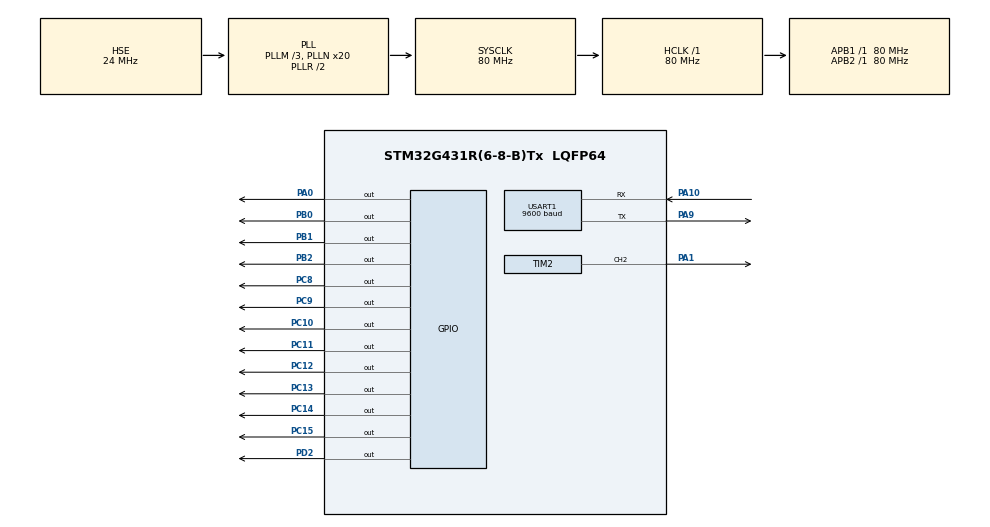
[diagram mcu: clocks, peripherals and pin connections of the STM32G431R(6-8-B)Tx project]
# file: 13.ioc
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Dma.Request0=USART1_RX
Dma.Request1=USART1_TX
Dma.USART1_RX.0.Direction=DMA_PERIPH_TO_MEMORY
Dma.USART1_RX.0.EventEnable=DISABLE
Dma.USART1_RX.0.Instance=DMA1_Channel1
Dma.USART1_RX.0.MemDataAlignment=DMA_MDATAALIGN_BYTE
Dma.USART1_RX.0.MemInc=DMA_MINC_ENABLE
Dma.USART1_RX.0.Mode=DMA_NORMAL
Dma.USART1_RX.0.PeriphDataAlignment=DMA_PDATAALIGN_BYTE
Dma.USART1_RX.0.PeriphInc=DMA_PINC_DISABLE
Dma.USART1_RX.0.Polarity=HAL_DMAMUX_REQ_GEN_RISING
Dma.USART1_RX.0.Priority=DMA_PRIORITY_LOW
Dma.USART1_RX.0.RequestNumber=1
Dma.USART1_RX.0.SignalID=NONE
Dma.USART1_RX.0.SyncEnable=DISABLE
Dma.USART1_RX.0.SyncPolarity=HAL_DMAMUX_SYNC_NO_EVENT
Dma.USART1_RX.0.SyncRequestNumber=1
Dma.USART1_RX.0.SyncSignalID=NONE
Dma.USART1_TX.1.Direction=DMA_MEMORY_TO_PERIPH
Dma.USART1_TX.1.EventEnable=DISABLE
Dma.USART1_TX.1.Instance=DMA1_Channel2
Dma.USART1_TX.1.MemDataAlignment=DMA_MDATAALIGN_BYTE
Dma.USART1_TX.1.MemInc=DMA_MINC_ENABLE
Dma.USART1_TX.1.Mode=DMA_NORMAL
Dma.USART1_TX.1.PeriphDataAlignment=DMA_PDATAALIGN_BYTE
Dma.USART1_TX.1.PeriphInc=DMA_PINC_DISABLE
Dma.USART1_TX.1.Polarity=HAL_DMAMUX_REQ_GEN_RISING
Dma.USART1_TX.1.Priority=DMA_PRIORITY_LOW
Dma.USART1_TX.1.RequestNumber=1
Dma.USART1_TX.1.SignalID=NONE
Dma.USART1_TX.1.SyncEnable=DISABLE
Dma.USART1_TX.1.SyncPolarity=HAL_DMAMUX_SYNC_NO_EVENT
Dma.USART1_TX.1.SyncRequestNumber=1
Dma.USART1_TX.1.SyncSignalID=NONE
Mcu.Family=STM32G4
Mcu.Name=STM32G431R(6-8-B)Tx
Mcu.Package=LQFP64
NVIC.DMA1_Channel1_IRQn=true\:0\:0\:false\:false\:true\:false\:true
NVIC.DMA1_Channel2_IRQn=true\:0\:0\:false\:false\:true\:false\:true
NVIC.PriorityGroup=NVIC_PRIORITYGROUP_4
NVIC.TIM4_IRQn=true\:0\:0\:false\:false\:true\:true\:true
NVIC.USART1_IRQn=true\:0\:0\:false\:false\:true\:true\:true
PA0.PinState=GPIO_PIN_SET
PA0.Signal=GPIO_Output
PA1.Signal=S_TIM2_CH2
PA10.Mode=Asynchronous
PA10.Signal=USART1_RX
PA13.Mode=Serial_Wire
PA13.Signal=SYS_JTMS-SWDIO
PA14.Mode=Serial_Wire
PA14.Signal=SYS_JTCK-SWCLK
PA9.Mode=Asynchronous
PA9.Signal=USART1_TX
PB0.PinState=GPIO_PIN_SET
PB0.Signal=GPIO_Output
PB1.GPIO_PuPd=GPIO_NOPULL
PB1.PinState=GPIO_PIN_SET
PB1.Signal=GPIO_Output
PB2.PinState=GPIO_PIN_SET
PB2.Signal=GPIO_Output
PC10.Signal=GPIO_Output
PC11.Signal=GPIO_Output
PC12.Signal=GPIO_Output
PC13.Signal=GPIO_Output
PC14-OSC32_IN.Signal=GPIO_Output
PC15-OSC32_OUT.Signal=GPIO_Output
PC8.Signal=GPIO_Output
PC9.Signal=GPIO_Output
PD2.Signal=GPIO_Output
PF0-OSC_IN.Mode=HSE-External-Oscillator
PF0-OSC_IN.Signal=RCC_OSC_IN
PF1-OSC_OUT.Mode=HSE-External-Oscillator
PF1-OSC_OUT.Signal=RCC_OSC_OUT
ProjectManager.HeapSize=0x200
ProjectManager.StackSize=0x400
ProjectManager.TargetToolchain=MDK-ARM V5.27
RCC.ADC12Freq_Value=80000000
RCC.AHBFreq_Value=80000000
RCC.APB1Freq_Value=80000000
RCC.APB1TimFreq_Value=80000000
RCC.APB2Freq_Value=80000000
RCC.APB2TimFreq_Value=80000000
RCC.CortexFreq_Value=80000000
RCC.EXTERNAL_CLOCK_VALUE=12288000
RCC.HCLKFreq_Value=80000000
RCC.HSE_VALUE=24000000
RCC.HSI48_VALUE=48000000
RCC.HSI_VALUE=16000000
RCC.LSE_VALUE=32768
RCC.PLLM=RCC_PLLM_DIV3
RCC.PLLN=20
RCC.PLLSourceVirtual=RCC_PLLSOURCE_HSE
RCC.SYSCLKFreq_VALUE=80000000
RCC.SYSCLKSource=RCC_SYSCLKSOURCE_PLLCLK
RCC.USBFreq_Value=80000000
RCC.VCOOutputFreq_Value=160000000
SH.S_TIM2_CH2.0=TIM2_CH2,PWM Generation2 CH2
TIM2.AutoReloadPreload=TIM_AUTORELOAD_PRELOAD_ENABLE
TIM2.Channel-PWM\ Generation2\ CH2=TIM_CHANNEL_2
TIM2.PeriodNoDither=1000
TIM2.Prescaler=79
TIM2.PulseNoDither_2=500
TIM4.AutoReloadPreload=TIM_AUTORELOAD_PRELOAD_ENABLE
TIM4.PeriodNoDither=10000
TIM4.Prescaler=79
USART1.BaudRate=9600
USART1.VirtualMode-Asynchronous=VM_ASYNC
VP_SYS_VS_DBSignals.Mode=DisableDeadBatterySignals
VP_TIM2_VS_ClockSourceINT.Mode=Internal
VP_TIM4_VS_ClockSourceINT.Mode=Internal
board=custom

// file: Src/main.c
/* USER CODE BEGIN Header */
/**
  ******************************************************************************
  * @file           : main.c
  * @brief          : Main program body
  ******************************************************************************
  * @attention
  *
  * <h2><center>&copy; Copyright (c) 2023 STMicroelectronics.
  * All rights reserved.</center></h2>
  *
  * This software component is licensed by ST under BSD 3-Clause license,
  * the "License"; You may not use this file except in compliance with the
  * License. You may obtain a copy of the License at:
  *                        opensource.org/licenses/BSD-3-Clause
  *
  ******************************************************************************
  */
/* USER CODE END Header */

#include "main.h"
#include "dma.h"
#include "tim.h"
#include "usart.h"
#include "gpio.h"

/* USER CODE BEGIN Includes */
#include "lcd_hal.h"
#include "stdio.h"
#include "Lcd.h"
#include "key.h"
/* USER CODE END Includes */

/* USER CODE BEGIN PV */
extern uint8_t Key_Flag;
extern uint8_t Key_Value;

uint8_t Real_PassWord[3]={1,2,3};
uint8_t Pass_Word[3]={1,8,5};
uint8_t Pass_Look[3]={0,0,0};
uint8_t Key_Effect=1;
uint8_t Tog_Led2=0;

uint16_t Error_Num=0;

uint8_t Rec_Str[8];

/* USER CODE END PV */

void SystemClock_Config(void);
/* USER CODE BEGIN PFP */
void PassWordAdd(uint8_t Add_Num);
uint8_t PassWordTest(uint8_t* PassWord,uint8_t* Real_PassWord,uint8_t* Pass_Look);
void ResetPSD(uint8_t* Pass_Look);
void OpenLed1(void);
void CloseLed1(void);
void TogLed2(void);
void ChangPassWord(void);
/* USER CODE END PFP */

/* USER CODE BEGIN 0 */
void HAL_UART_RxCpltCallback(UART_HandleTypeDef *huart)
{
	HAL_UART_Receive_DMA(&huart1, Rec_Str, 7);
	ChangPassWord();
}
void HAL_TIM_PeriodElapsedCallback(TIM_HandleTypeDef *htim)
{
	static uint16_t Count_5s=0;
	if(++Count_5s==500)
	{
		Count_5s=0;
		if(Key_Effect==0)
		{
			CloseLed1();
			ResetPSD(Pass_Look);
			Key_Effect=1;
			ShowPSD(Pass_Word,Pass_Look);
			__HAL_TIM_SET_AUTORELOAD(&htim2,1000);
			__HAL_TIM_SET_COMPARE(&htim2,TIM_CHANNEL_2,500);
		}
		else
		{
			Tog_Led2=0;
			CloseLed1();
		}
		HAL_TIM_Base_Stop_IT(&htim4);
	}
}
/* USER CODE END 0 */

int main(void)
{

  /* MCU Configuration--------------------------------------------------------*/

  /* Reset of all peripherals, Initializes the Flash interface and the Systick. */
  HAL_Init();

  /* Configure the system clock */
  SystemClock_Config();

  /* Initialize all configured peripherals */
  MX_GPIO_Init();
  MX_DMA_Init();
  MX_USART1_UART_Init();
  MX_TIM2_Init();
  MX_TIM4_Init();
  /* USER CODE BEGIN 2 */
  HAL_TIM_PWM_Start(&htim2,TIM_CHANNEL_2);
  HAL_UART_Receive_IT(&huart1, Rec_Str, 7);
  LcdSetInit(White,Black);
  ShowPSD(Pass_Word,Pass_Look);
  CloseLed1();
  /* USER CODE END 2 */

  /* Infinite loop */
  /* USER CODE BEGIN WHILE */
  while (1)
  {
	if(Key_Flag==1)
	{
		Key_Flag=0;
		if( Key_Effect==1)
		{
			if(Key_Value==1) PassWordAdd(0);
			if(Key_Value==2) PassWordAdd(1);
			if(Key_Value==3) PassWordAdd(2);
			ShowPSD(Pass_Word,Pass_Look);
		}
		if(Key_Value==4)
		{
			if(PassWordTest(Pass_Word,Real_PassWord,Pass_Look)==1)
			{
				Error_Num=0;
				__HAL_TIM_SET_AUTORELOAD(&htim2,500);
				__HAL_TIM_SET_COMPARE(&htim2,TIM_CHANNEL_2,50);
				OpenLed1();
				Key_Effect=0;
				ShowSTA(2000,10);
				HAL_TIM_Base_Start_IT (&htim4);
			}
			else
			{
				ResetPSD(Pass_Look);
				ShowPSD(Pass_Word,Pass_Look);
				Error_Num++;
				if(Error_Num==3)
				{
					Error_Num=0;
					Tog_Led2=1;
					HAL_TIM_Base_Start_IT (&htim4);
				}
			}
		}
	}
    /* USER CODE END WHILE */

  }
}

void SystemClock_Config(void)
{
  RCC_OscInitTypeDef RCC_OscInitStruct = {0};
  RCC_ClkInitTypeDef RCC_ClkInitStruct = {0};
  RCC_PeriphCLKInitTypeDef PeriphClkInit = {0};

  /** Configure the main internal regulator output voltage
  */
  HAL_PWREx_ControlVoltageScaling(PWR_REGULATOR_VOLTAGE_SCALE1);
  /** Initializes the CPU, AHB and APB busses clocks
  */
  RCC_OscInitStruct.OscillatorType = RCC_OSCILLATORTYPE_HSE;
  RCC_OscInitStruct.HSEState = RCC_HSE_ON;
  RCC_OscInitStruct.PLL.PLLState = RCC_PLL_ON;
  RCC_OscInitStruct.PLL.PLLSource = RCC_PLLSOURCE_HSE;
  RCC_OscInitStruct.PLL.PLLM = RCC_PLLM_DIV3;
  RCC_OscInitStruct.PLL.PLLN = 20;
  RCC_OscInitStruct.PLL.PLLP = RCC_PLLP_DIV2;
  RCC_OscInitStruct.PLL.PLLQ = RCC_PLLQ_DIV2;
  RCC_OscInitStruct.PLL.PLLR = RCC_PLLR_DIV2;
  if (HAL_RCC_OscConfig(&RCC_OscInitStruct) != HAL_OK)
  {
    Error_Handler();
  }
  /** Initializes the CPU, AHB and APB busses clocks
  */
  RCC_ClkInitStruct.ClockType = RCC_CLOCKTYPE_HCLK|RCC_CLOCKTYPE_SYSCLK
                              |RCC_CLOCKTYPE_PCLK1|RCC_CLOCKTYPE_PCLK2;
  RCC_ClkInitStruct.SYSCLKSource = RCC_SYSCLKSOURCE_PLLCLK;
  RCC_ClkInitStruct.AHBCLKDivider = RCC_SYSCLK_DIV1;
  RCC_ClkInitStruct.APB1CLKDivider = RCC_HCLK_DIV1;
  RCC_ClkInitStruct.APB2CLKDivider = RCC_HCLK_DIV1;

  if (HAL_RCC_ClockConfig(&RCC_ClkInitStruct, FLASH_LATENCY_3) != HAL_OK)
  {
    Error_Handler();
  }
  /** Initializes the peripherals clocks
  */
  PeriphClkInit.PeriphClockSelection = RCC_PERIPHCLK_USART1;
  PeriphClkInit.Usart1ClockSelection = RCC_USART1CLKSOURCE_PCLK2;
  if (HAL_RCCEx_PeriphCLKConfig(&PeriphClkInit) != HAL_OK)
  {
    Error_Handler();
  }
}

/* USER CODE BEGIN 4 */
void PassWordAdd(uint8_t Add_Num)
{
	if(Add_Num<=2)
	{
		if(Pass_Look[Add_Num]==0) {
		Pass_Look[Add_Num]=1;
		Pass_Word[Add_Num]=0;
		}
		else{
			if(++Pass_Word[Add_Num]==10) Pass_Word[Add_Num]=0;
		}
	}
}

uint8_t PassWordTest(uint8_t* PassWord,uint8_t* Real_PassWord,uint8_t* Pass_Look)
{
	uint8_t i=0;
	if(Pass_Look[0]==1 && Pass_Look[1]==1 && Pass_Look[2]==1)
	{
		while(i<3){
			if(PassWord[i]==Real_PassWord[i]) i++;
			else return 0;//��֤��ͨ��
		}
		return 1;//��֤ͨ��
	}
	else return 0;//��֤��ͨ��
}

void ResetPSD(uint8_t* Pass_Look)
{
	Pass_Look[0]=0;
	Pass_Look[1]=0;
	Pass_Look[2]=0;
}

void OpenLed1(void)
{
	HAL_GPIO_WritePin(GPIOC,GPIO_PIN_9 | GPIO_PIN_10 | GPIO_PIN_11 | GPIO_PIN_12 | GPIO_PIN_13 | GPIO_PIN_14 | GPIO_PIN_15,GPIO_PIN_SET);
	HAL_GPIO_WritePin(GPIOC,GPIO_PIN_8,GPIO_PIN_RESET);
	HAL_GPIO_WritePin(GPIOD,GPIO_PIN_2,GPIO_PIN_SET);
	HAL_GPIO_WritePin(GPIOD,GPIO_PIN_2,GPIO_PIN_RESET);
}
void CloseLed1(void)
{
	HAL_GPIO_WritePin(GPIOC,GPIO_PIN_9 | GPIO_PIN_10 | GPIO_PIN_11 | GPIO_PIN_12 | GPIO_PIN_13 | GPIO_PIN_14 | GPIO_PIN_15,GPIO_PIN_SET);
	HAL_GPIO_WritePin(GPIOC,GPIO_PIN_8,GPIO_PIN_SET);
	HAL_GPIO_WritePin(GPIOD,GPIO_PIN_2,GPIO_PIN_SET);
	HAL_GPIO_WritePin(GPIOD,GPIO_PIN_2,GPIO_PIN_RESET);
}

void TogLed2(void)
{
	static uint8_t state=0;
	if(state==0)
	{
		state=1;
		HAL_GPIO_WritePin(GPIOC,GPIO_PIN_8 | GPIO_PIN_10 | GPIO_PIN_11 | GPIO_PIN_12 | GPIO_PIN_13 | GPIO_PIN_14 | GPIO_PIN_15,GPIO_PIN_SET);
		HAL_GPIO_WritePin(GPIOC,GPIO_PIN_9,GPIO_PIN_SET);
		HAL_GPIO_WritePin(GPIOD,GPIO_PIN_2,GPIO_PIN_SET);
		HAL_GPIO_WritePin(GPIOD,GPIO_PIN_2,GPIO_PIN_RESET);
	}
	else
	{
		state=0;
		HAL_GPIO_WritePin(GPIOC,GPIO_PIN_8 | GPIO_PIN_10 | GPIO_PIN_11 | GPIO_PIN_12 | GPIO_PIN_13 | GPIO_PIN_14 | GPIO_PIN_15,GPIO_PIN_SET);
		HAL_GPIO_WritePin(GPIOC,GPIO_PIN_9,GPIO_PIN_RESET);
		HAL_GPIO_WritePin(GPIOD,GPIO_PIN_2,GPIO_PIN_SET);
		HAL_GPIO_WritePin(GPIOD,GPIO_PIN_2,GPIO_PIN_RESET);
	}
}

void ChangPassWord(void)
{
	uint8_t i;
	while(i<3)
	{
		if((Rec_Str[i]-'0')==Real_PassWord[i]) i++;
		else return ;
	}

	Real_PassWord[0]=Rec_Str[4]-'0';
	Real_PassWord[1]=Rec_Str[5]-'0';
	Real_PassWord[2]=Rec_Str[6]-'0';
	return ;
}
/* USER CODE END 4 */

void Error_Handler(void)
{
}

/************************ (C) COPYRIGHT STMicroelectronics *****END OF FILE****/
